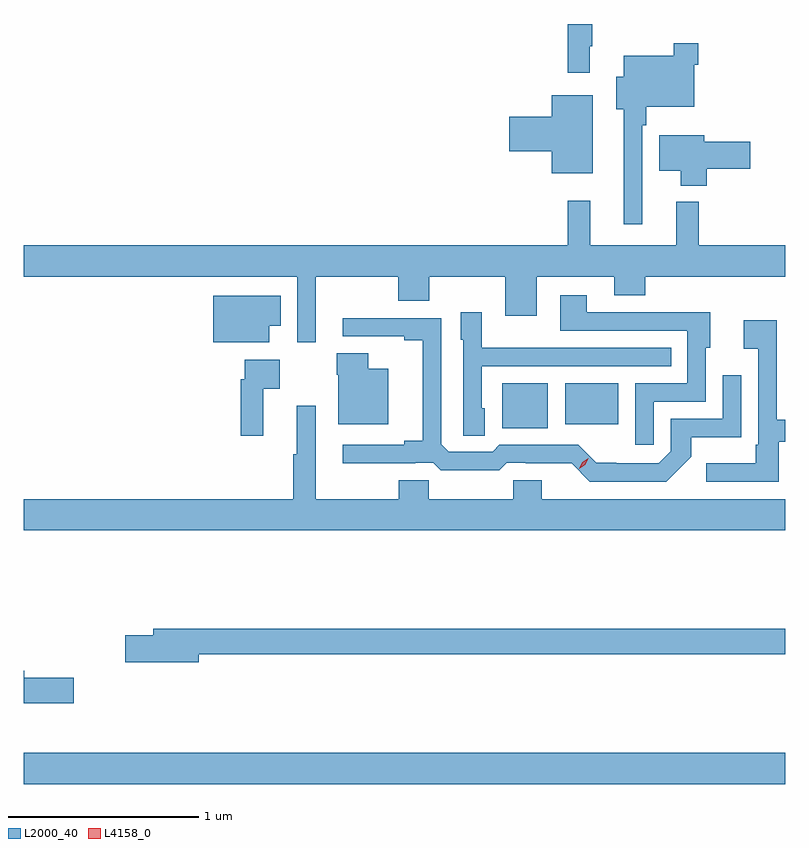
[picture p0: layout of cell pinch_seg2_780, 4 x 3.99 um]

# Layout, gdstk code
import gdstk
lib = gdstk.Library(unit=1e-6, precision=1e-09)
def R(c, l, rs):  # rectangles x0, y0, x1, y1
    for r in rs: c.add(gdstk.rectangle(r[:2], r[2:], *l))
def P(c, l, *ps):  # polygons
    for p in ps: c.add(gdstk.Polygon(p, *l))
L2000_40 = (2000, 40)
L4158_0 = (4158, 0)

pinch_seg2_780 = lib.new_cell('pinch_seg2_780')
R(pinch_seg2_780, L2000_40, [(720.469,609.008,724.469,609.172), (722.981,610.877,723.22,611.113), (723.314,610.898,723.592,611.113)])
P(pinch_seg2_780, L2000_40, [(723.442,612.881),(723.454,612.881),(723.454,612.998),(723.325,612.998),(723.325,612.741),(723.442,612.741)],
  [(723.717,612.467),(723.737,612.467),(723.737,612.563),(723.99,612.563),(723.99,612.785),(724.01,612.785),(724.01,612.898),(723.882,612.898),(723.882,612.832),(723.62,612.832),(723.62,612.721),(723.581,612.721),(723.581,612.551),(723.62,612.551),(723.62,611.946),(723.717,611.946)],
  [(723.457,612.625),(723.242,612.625),(723.242,612.512),(723.018,612.512),(723.018,612.329),(723.242,612.329),(723.242,612.215),(723.457,612.215)],
  [(724.055,612.238),(724.285,612.238),(724.285,612.38),(724.042,612.38),(724.042,612.415),(723.806,612.415),(723.806,612.227),(723.92,612.227),(723.92,612.149),(724.055,612.149)],
  [(722.002,611.672),(722.435,611.672),(722.435,611.544),(722.599,611.544),(722.599,611.672),(722.999,611.672),(722.999,611.466),(723.163,611.466),(723.163,611.672),(723.569,611.672),(723.569,611.573),(723.733,611.573),(723.733,611.672),(724.469,611.672),(724.469,611.836),(724.013,611.836),(724.013,612.064),(723.896,612.064),(723.896,611.836),(723.443,611.836),(723.443,612.07),(723.325,612.07),(723.325,611.836),(720.469,611.836),(720.469,611.672),(721.905,611.672),(721.905,611.328),(722.002,611.328)],
  [(723.777,611.016),(724.05,611.016),(724.05,611.298),(724.075,611.298),(724.075,611.486),(723.857,611.486),(723.857,611.484),(723.427,611.484),(723.427,611.575),(723.287,611.575),(723.287,611.388),(723.954,611.388),(723.954,611.112),(723.681,611.112),(723.681,610.788),(723.777,610.788)],
  [(721.759,611.414),(721.82,611.414),(721.82,611.572),(721.466,611.572),(721.466,611.327),(721.759,611.327)],
  [(722.89,610.98),(722.874,610.98),(722.874,611.202),(723.869,611.202),(723.869,611.298),(723.191,611.298),(723.191,611.299),(722.874,611.299),(722.874,611.485),(722.765,611.485),(722.765,611.34),(722.778,611.34),(722.778,610.837),(722.89,610.837)],
  [(723.975,610.727),(723.975,610.829),(724.236,610.829),(724.236,611.155),(724.14,611.155),(724.14,610.926),(723.867,610.926),(723.867,610.755),(723.804,610.692),(723.58,610.692),(723.58,610.694),(723.476,610.694),(723.381,610.788),(722.967,610.788),(722.931,610.752),(722.7,610.752),(722.661,610.791),(722.661,611.454),(722.145,611.454),(722.145,611.358),(722.468,611.358),(722.468,611.338),(722.564,611.338),(722.564,610.811),(722.468,610.811),(722.468,610.788),(722.145,610.788),(722.145,610.691),(722.525,610.691),(722.525,610.695),(722.619,610.695),(722.659,610.656),(722.967,610.656),(723.006,610.695),(723.106,610.695),(723.106,610.691),(723.347,610.691),(723.441,610.596),(723.844,610.596)],
  [(724.435,610.805),(724.469,610.805),(724.469,610.921),(724.423,610.921),(724.423,611.443),(724.251,611.443),(724.251,611.294),(724.326,611.294),(724.326,610.789),(724.314,610.789),(724.314,610.693),(724.053,610.693),(724.053,610.596),(724.435,610.596)],
  [(722.383,611.188),(722.278,611.188),(722.278,611.269),(722.113,611.269),(722.113,611.156),(722.12,611.156),(722.12,610.898),(722.383,610.898)],
  [(721.727,611.084),(721.813,611.084),(721.813,611.236),(721.629,611.236),(721.629,611.132),(721.609,611.132),(721.609,610.836),(721.727,610.836)],
  [(721.904,610.993),(721.904,610.74),(721.885,610.74),(721.885,610.504),(720.469,610.504),(720.469,610.34),(724.469,610.34),(724.469,610.504),(723.19,610.504),(723.19,610.602),(723.04,610.602),(723.04,610.504),(722.595,610.504),(722.595,610.602),(722.44,610.602),(722.44,610.504),(722.002,610.504),(722.002,610.993)],
  [(721.39,609.688),(724.469,609.688),(724.469,609.824),(721.151,609.824),(721.151,609.788),(721.002,609.788),(721.002,609.646),(721.39,609.646)],
  [(720.733,609.566),(720.472,609.566),(720.472,609.602),(720.469,609.602),(720.469,609.431),(720.733,609.431)])
P(pinch_seg2_780, L4158_0, [(723.387,610.664),(723.387,610.664),(723.403,610.698),(723.433,610.719),(723.433,610.719),(723.433,610.719),(723.418,610.685),(723.387,610.664)])

lib.write_gds('pinch_seg2_780.gds')
